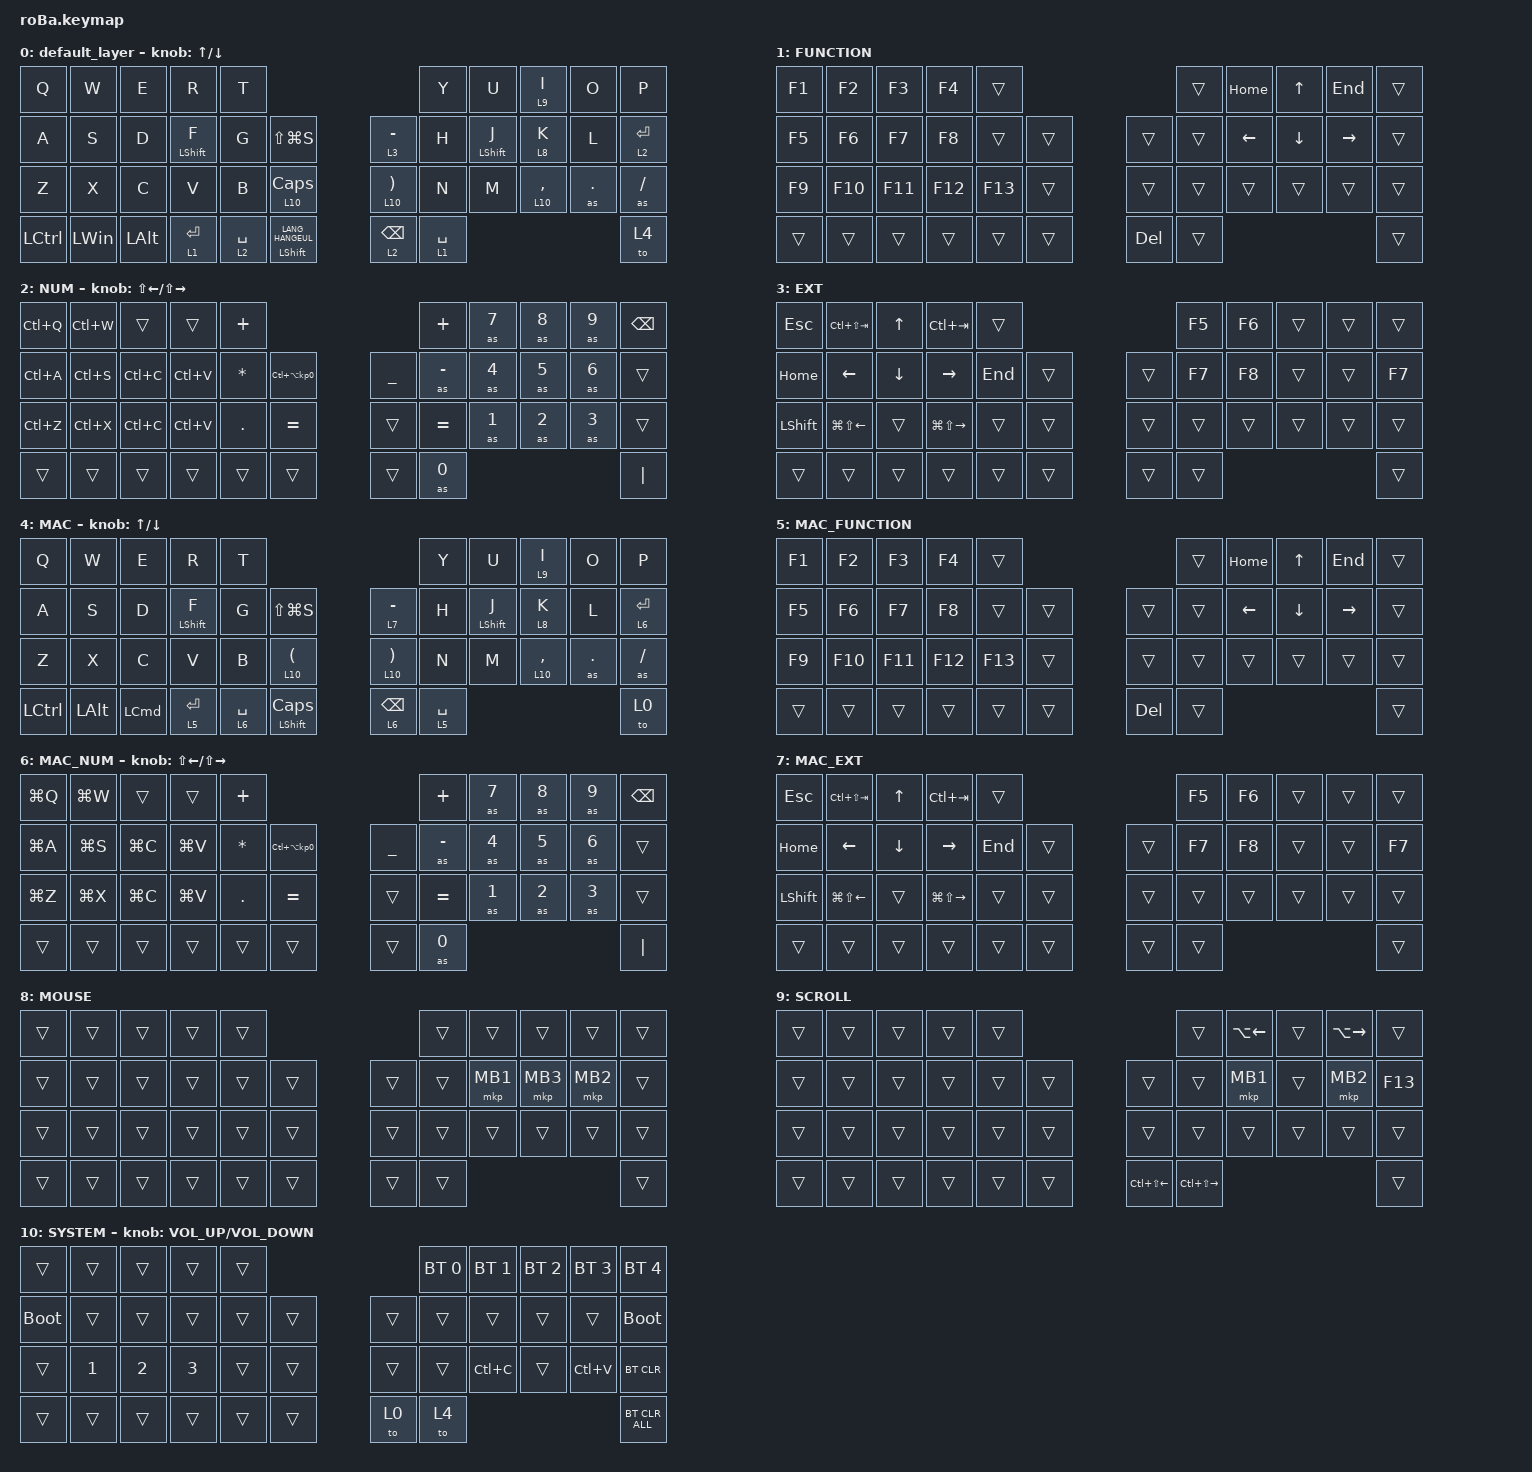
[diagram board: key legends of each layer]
#include <behaviors.dtsi>
#include <dt-bindings/zmk/bt.h>
#include <dt-bindings/zmk/keys.h>
#include <dt-bindings/zmk/pointing.h>

#define MOUSE 8
#define SCROLL 9
#define NUM 2

&mt {
    flavor = "tap-preferred";
    quick-tap-ms = <170>;
};

&lt { quick-tap-ms = <170>; };

/ {
    combos {
        compatible = "zmk,combos";

        tab {
            bindings = <&kp TAB>;
            key-positions = <10 11>;
        };

        haen {
            bindings = <&kp LANG1>;
            key-positions = <13 18>;
        };

        esc {
            bindings = <&kp ESC>;
            key-positions = <0 1>;
        };

        semicol {
            bindings = <&as SEMICOLON>;
            key-positions = <18 19>;
            layers = <0>;
        };

        qoute {
            bindings = <&as SINGLE_QUOTE>;
            key-positions = <19 20>;
            layers = <0>;
        };

        copy {
            bindings = <&kp LC(C)>;
            key-positions = <30 31>;
        };

        paste {
            bindings = <&kp LC(V)>;
            key-positions = <31 32>;
        };

        bootloader_rt {
            bindings = <&bootloader>;
            key-positions = <40 41 42>;
        };

        sel_left {
            bindings = <&kp LC(LS(LEFT))>;
            key-positions = <1 2>;
        };

        sel_right {
            bindings = <&kp LC(LS(RIGHT))>;
            key-positions = <2 3>;
        };

        login {
            bindings = <&text3>;
            key-positions = <22 23 24>;
        };

        seoridan {
            bindings = <&text1>;
            key-positions = <1 2 3>;
        };

        name {
            bindings = <&text2>;
            key-positions = <6 7 8>;
        };

        delete {
            bindings = <&kp DEL>;
            key-positions = <12 2>;
        };

        left_paren {
            bindings = <&kp LEFT_PARENTHESIS>;
            key-positions = <26 27>;
        };

        right_paren {
            bindings = <&kp RIGHT_PARENTHESIS>;
            key-positions = <28 29>;
        };

        left_braket {
            bindings = <&as LEFT_BRACKET>;
            key-positions = <7 6>;
        };

        right_braket {
            bindings = <&as RIGHT_BRACKET>;
            key-positions = <7 8>;
        };

        sel_left2 {
            bindings = <&kp LC(LS(LEFT_ARROW))>;
            key-positions = <18 19>;
            layers = <1>;
        };

        sel_right2 {
            bindings = <&kp LC(LS(RIGHT_ARROW))>;
            key-positions = <19 20>;
            layers = <1>;
        };

        Adenoma {
            bindings = <&TubularAdenoma>;
            key-positions = <4 10>;
        };

        HPolyp {
            bindings = <&HyperplasticPolyp>;
            key-positions = <17 9>;
        };

        IIa {
            bindings = <&IIa>;
            key-positions = <10 31>;
        };

        Ipolyp {
            bindings = <&InflammatoryPolyp>;
            key-positions = <9 7>;
        };

        backslash {
            bindings = <&kp BACKSLASH>;
            key-positions = <8 9>;
        };

        del {
            bindings = <&kp DELETE>;
            key-positions = <16 28>;
        };
    };

    macros {
        to_layer_0: to_layer_0 {
            compatible = "zmk,behavior-macro-one-param";
            #binding-cells = <1>;
            bindings = <&to 0 &macro_param_1to1 &kp MACRO_PLACEHOLDER>;
            label = "TO_LAYER_0";
        };

        shifted: macro_shifted_kp {
            #binding-cells = <1>;
            label = "MACRO_SHIFTED_KP";
            compatible = "zmk,behavior-macro-one-param";
            bindings =
                <&macro_press>,
                <&kp LSHFT &macro_param_1to1>,
                <&macro_tap>,
                <&kp MACRO_PLACEHOLDER>,
                <&macro_release>,
                <&kp LSHFT>;
        };

        as: autoshift {
            compatible = "zmk,behavior-macro-one-param";
            #binding-cells = <1>;
            label = "AUTOSHIFT_KP";
            bindings =
                <&macro_press>,
                <&macro_param_1to1 &macro_param_1to2 &as_ht MACRO_PLACEHOLDER MACRO_PLACEHOLDER>,
                <&macro_pause_for_release>,
                <&macro_release>,
                <&macro_param_1to1 &macro_param_1to2 &as_ht MACRO_PLACEHOLDER MACRO_PLACEHOLDER>;
        };

        text1: text1 {
            compatible = "zmk,behavior-macro";
            #binding-cells = <0>;
            bindings = <&kp T &kp J &kp F &kp L &kp E &kp K &kp S &kp N2 &kp N2 &kp EXCL>;
            label = "TEXT1";
        };

        text2: text2 {
            compatible = "zmk,behavior-macro";
            #binding-cells = <0>;
            bindings = <&kp D &kp L &kp T &kp M &kp D &kp G &kp H &kp K &kp S &kp N8 &kp N0 &kp EXCL>;
            label = "TEXT2";
        };

        text3: text3 {
            compatible = "zmk,behavior-macro";
            #binding-cells = <0>;
            bindings = <&kp N7 &kp N7 &kp N4 &kp N8>;
            label = "TEXT3";
            wait-ms = <50>;
            tap-ms = <50>;
        };

        TubularAdenoma: TubularAdenoma {
            compatible = "zmk,behavior-macro";
            #binding-cells = <0>;
            bindings = <&kp LS(T) &kp U &kp B &kp U &kp L &kp A &kp R &kp SPACE &kp A &kp D &kp E &kp N &kp O &kp M &kp A &kp COMMA &kp SPACE &kp L &kp O &kp W &kp SPACE &kp G &kp R &kp A &kp D &kp E &kp SPACE &kp D &kp Y &kp S &kp P &kp L &kp A &kp S &kp I &kp A &kp SPACE &kp W &kp I &kp T &kp H &kp SPACE &kp C &kp L &kp E &kp A &kp R &kp SPACE &kp R &kp E &kp S &kp E &kp C &kp T &kp I &kp O &kp N &kp SPACE &kp M &kp A &kp R &kp G &kp I &kp N>;
            label = "TUBULARADENOMA";
        };

        HyperplasticPolyp: HyperplasticPolyp {
            compatible = "zmk,behavior-macro";
            #binding-cells = <0>;
            bindings = <&kp LS(H) &kp Y &kp P &kp E &kp R &kp P &kp L &kp A &kp S &kp T &kp I &kp C &kp SPACE &kp P &kp O &kp L &kp Y &kp P>;
            label = "HYPERPLASTICPOLYP";
        };

        InflammatoryPolyp: InflammatoryPolyp {
            compatible = "zmk,behavior-macro";
            #binding-cells = <0>;
            bindings = <&kp LS(I) &kp N &kp F &kp L &kp A &kp M &kp M &kp A &kp T &kp O &kp R &kp Y &kp SPACE &kp P &kp O &kp L &kp Y &kp P>;
            label = "INFLAMMATORYPOLYP";
        };

        IIa: IIa {
            compatible = "zmk,behavior-macro";
            #binding-cells = <0>;
            bindings =
                <&macro_press>,
                <&kp LEFT_ALT>,
                <&macro_tap>,
                <&kp KP_NUMBER_7 &kp KP_NUMBER_3>,
                <&macro_release>,
                <&kp LEFT_ALT>,
                <&macro_press>,
                <&kp LEFT_ALT>,
                <&macro_tap>,
                <&kp KP_NUMBER_7 &kp KP_NUMBER_3>,
                <&macro_release>,
                <&kp LEFT_ALT>,
                <&macro_press>,
                <&kp LEFT_ALT>,
                <&macro_tap>,
                <&kp KP_NUMBER_9 &kp KP_NUMBER_7>,
                <&macro_release>,
                <&kp LEFT_ALT>;

            label = "IIA";
        };

        behaviors {
            lt_to_layer_0: lt_to_layer_0 {
                compatible = "zmk,behavior-hold-tap";
                label = "LAYER_TAP_TO_0";
                bindings = <&mo>, <&to_layer_0>;

                #binding-cells = <2>;
                tapping-term-ms = <175>;
                flavor = "tap-preferred";
            };

            as_ht: autoshift_hold_tap {
                compatible = "zmk,behavior-hold-tap";
                label = "AUTOSHIFT_HOLD_TAP";
                #binding-cells = <2>;
                tapping-term-ms = <175>;
                flavor = "balanced";
                bindings = <&shifted>, <&kp>;
            };
        };
    };

    behaviors {
    };

    keymap {
        compatible = "zmk,keymap";

        default_layer {
            bindings = <
&kp Q      &kp W         &kp E         &kp R             &kp T                                                                   &kp Y        &kp U             &lt 9 I       &kp O    &kp P
&kp A      &kp S         &kp D         &mt LEFT_SHIFT F  &kp G        &kp LS(LG(S))                    &lt 3 MINUS               &kp H        &mt LEFT_SHIFT J  &lt 8 K       &kp L    &lt 2 ENTER
&kp Z      &kp X         &kp C         &kp V             &kp B        &lt 10 CAPS                      &lt 10 RIGHT_PARENTHESIS  &kp N        &kp M             &lt 10 COMMA  &as DOT  &as SLASH
&kp LCTRL  &kp LEFT_WIN  &kp LEFT_ALT  &lt 1 ENTER       &lt 2 SPACE  &mt LEFT_SHIFT LANG_HANGEUL      &lt 2 BACKSPACE           &lt 1 SPACE                                           &to 4
            >;

            sensor-bindings = <&inc_dec_kp UP_ARROW DOWN>;
        };

        FUNCTION {
            bindings = <
&kp F1  &kp F2   &kp F3   &kp F4   &trans                        &trans  &kp HOME        &kp UP_ARROW  &kp END    &trans
&kp F5  &kp F6   &kp F7   &kp F8   &trans   &trans      &trans   &trans  &kp LEFT_ARROW  &kp DOWN      &kp RIGHT  &trans
&kp F9  &kp F10  &kp F11  &kp F12  &kp F13  &trans      &trans   &trans  &trans          &trans        &trans     &trans
&trans  &trans   &trans   &trans   &trans   &trans      &kp DEL  &trans                                           &trans
            >;
        };

        NUM {
            bindings = <
&kp LC(Q)  &kp LC(W)  &trans     &trans     &kp PLUS                                                   &kp PLUS      &as N7        &as N8        &as NUMBER_9  &kp BACKSPACE
&kp LC(A)  &kp LC(S)  &kp LC(C)  &kp LC(V)  &kp ASTERISK  &kp LC(LA(KP_NUMBER_0))      &kp UNDERSCORE  &as MINUS     &as NUMBER_4  &as NUMBER_5  &as NUMBER_6  &trans
&kp LC(Z)  &kp LC(X)  &kp LC(C)  &kp LC(V)  &kp PERIOD    &kp EQUAL                    &trans          &kp EQUAL     &as NUMBER_1  &as NUMBER_2  &as NUMBER_3  &trans
&trans     &trans     &trans     &trans     &trans        &trans                       &trans          &as NUMBER_0                                            &kp PIPE
            >;

            sensor-bindings = <&inc_dec_kp LS(LEFT) LS(RIGHT)>;
        };

        EXT {
            bindings = <
&kp ESCAPE      &kp LC(LS(TAB))         &kp UP_ARROW    &kp LC(TAB)              &trans                       &kp F5  &kp F6  &trans  &trans  &trans
&kp HOME        &kp LEFT_ARROW          &kp DOWN_ARROW  &kp RIGHT_ARROW          &kp END  &trans      &trans  &kp F7  &kp F8  &trans  &trans  &kp F7
&kp LEFT_SHIFT  &kp LG(LS(LEFT_ARROW))  &trans          &kp LG(LS(RIGHT_ARROW))  &trans   &trans      &trans  &trans  &trans  &trans  &trans  &trans
&trans          &trans                  &trans          &trans                   &trans   &trans      &trans  &trans                          &trans
            >;
        };

        MAC {
            bindings = <
&kp Q             &kp W         &kp E             &kp R             &kp T                                                               &kp Y        &kp U             &lt 9 I       &kp O    &kp P
&kp A             &kp S         &kp D             &mt LEFT_SHIFT F  &kp G        &kp LS(LG(S))                &lt 7 MINUS               &kp H        &mt LEFT_SHIFT J  &lt 8 K       &kp L    &lt 6 ENTER
&kp Z             &kp X         &kp C             &kp V             &kp B        &lt 10 LEFT_PARENTHESIS      &lt 10 RIGHT_PARENTHESIS  &kp N        &kp M             &lt 10 COMMA  &as DOT  &as SLASH
&kp LEFT_CONTROL  &kp LEFT_ALT  &kp LEFT_COMMAND  &lt 5 ENTER       &lt 6 SPACE  &mt LEFT_SHIFT CAPS          &lt 6 BACKSPACE           &lt 5 SPACE                                           &to 0
            >;

            sensor-bindings = <&inc_dec_kp UP_ARROW DOWN>;
        };

        MAC_FUNCTION {
            bindings = <
&kp F1  &kp F2   &kp F3   &kp F4   &trans                        &trans  &kp HOME        &kp UP_ARROW  &kp END    &trans
&kp F5  &kp F6   &kp F7   &kp F8   &trans   &trans      &trans   &trans  &kp LEFT_ARROW  &kp DOWN      &kp RIGHT  &trans
&kp F9  &kp F10  &kp F11  &kp F12  &kp F13  &trans      &trans   &trans  &trans          &trans        &trans     &trans
&trans  &trans   &trans   &trans   &trans   &trans      &kp DEL  &trans                                           &trans
            >;
        };

        MAC_NUM {
            bindings = <
&kp LG(Q)  &kp LG(W)  &trans     &trans     &kp PLUS                                                   &kp PLUS      &as N7        &as N8        &as NUMBER_9  &kp BACKSPACE
&kp LG(A)  &kp LG(S)  &kp LG(C)  &kp LG(V)  &kp ASTERISK  &kp LC(LA(KP_NUMBER_0))      &kp UNDERSCORE  &as MINUS     &as NUMBER_4  &as NUMBER_5  &as NUMBER_6  &trans
&kp LG(Z)  &kp LG(X)  &kp LG(C)  &kp LG(V)  &kp PERIOD    &kp EQUAL                    &trans          &kp EQUAL     &as NUMBER_1  &as NUMBER_2  &as NUMBER_3  &trans
&trans     &trans     &trans     &trans     &trans        &trans                       &trans          &as NUMBER_0                                            &kp PIPE
            >;

            sensor-bindings = <&inc_dec_kp LS(LEFT) LS(RIGHT)>;
        };

        MAC_EXT {
            bindings = <
&kp ESCAPE      &kp LC(LS(TAB))         &kp UP_ARROW    &kp LC(TAB)              &trans                       &kp F5  &kp F6  &trans  &trans  &trans
&kp HOME        &kp LEFT_ARROW          &kp DOWN_ARROW  &kp RIGHT_ARROW          &kp END  &trans      &trans  &kp F7  &kp F8  &trans  &trans  &kp F7
&kp LEFT_SHIFT  &kp LG(LS(LEFT_ARROW))  &trans          &kp LG(LS(RIGHT_ARROW))  &trans   &trans      &trans  &trans  &trans  &trans  &trans  &trans
&trans          &trans                  &trans          &trans                   &trans   &trans      &trans  &trans                          &trans
            >;
        };

        MOUSE {
            bindings = <
&trans  &trans  &trans  &trans  &trans                      &trans  &trans    &trans    &trans    &trans
&trans  &trans  &trans  &trans  &trans  &trans      &trans  &trans  &mkp MB1  &mkp MB3  &mkp MB2  &trans
&trans  &trans  &trans  &trans  &trans  &trans      &trans  &trans  &trans    &trans    &trans    &trans
&trans  &trans  &trans  &trans  &trans  &trans      &trans  &trans                                &trans
            >;
        };

        SCROLL {
            bindings = <
&trans  &trans  &trans  &trans  &trans                                &trans             &kp LA(LEFT)  &trans  &kp LA(RIGHT)  &trans
&trans  &trans  &trans  &trans  &trans  &trans      &trans            &trans             &mkp MB1      &trans  &mkp MB2       &kp F13
&trans  &trans  &trans  &trans  &trans  &trans      &trans            &trans             &trans        &trans  &trans         &trans
&trans  &trans  &trans  &trans  &trans  &trans      &kp LC(LS(LEFT))  &kp LC(LS(RIGHT))                                       &trans
            >;
        };

        SYSTEM {
            bindings = <
&trans       &trans        &trans        &trans        &trans                      &bt BT_SEL 0  &bt BT_SEL 1  &bt BT_SEL 2  &bt BT_SEL 3  &bt BT_SEL 4
&bootloader  &trans        &trans        &trans        &trans  &trans      &trans  &trans        &trans        &trans        &trans        &bootloader
&trans       &kp NUMBER_1  &kp NUMBER_2  &kp NUMBER_3  &trans  &trans      &trans  &trans        &kp LC(C)     &trans        &kp LC(V)     &bt BT_CLR
&trans       &trans        &trans        &trans        &trans  &trans      &to 0   &to 4                                                   &bt BT_CLR_ALL
            >;

            sensor-bindings = <&inc_dec_kp C_VOLUME_UP C_VOLUME_DOWN>;
        };
    };
};
